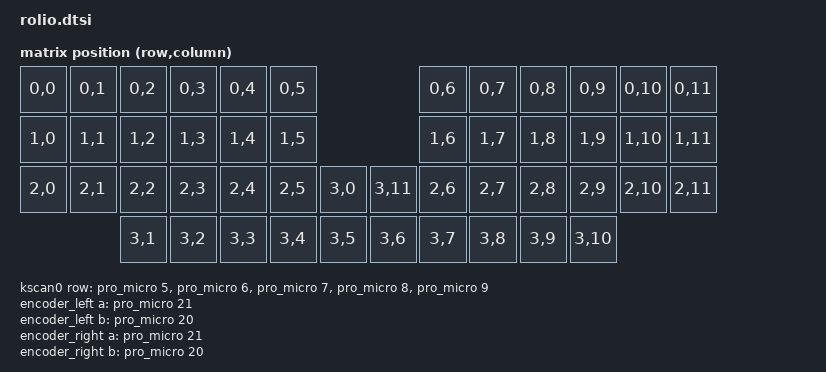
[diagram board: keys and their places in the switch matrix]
/*
 * Copyright (c) 2020 Pete Johanson, Ryan Cross
 *
 * SPDX-License-Identifier: MIT
 */

#include <dt-bindings/zmk/matrix_transform.h>

/ {
    chosen {
        zmk,kscan = &kscan0;
        zmk,matrix_transform = &default_transform;
        zmk,backlight = &backlight;
    };

    default_transform: keymap_transform_0 {
        compatible = "zmk,matrix-transform";
        columns = <16>;
        rows = <4>;
// | SW_A0 | SW_B0 | SW_C0 | SW_D0 | SW_E0 | SW_F0 |                   | SW_F0 | SW_E0 | SW_D0 | SW_C0 | SW_B0 | SW_A0 |
// | SW_A1 | SW_B1 | SW_C1 | SW_D1 | SW_E1 | SW_F1 |                   | SW_F1 | SW_E1 | SW_D1 | SW_C1 | SW_B1 | SW_A1 |
// | SW_A2 | SW_B2 | SW_C2 | SW_D2 | SW_E2 | SW_F2 | RE_1  |   | RE_1  | SW_F2 | SW_E2 | SW_D2 | SW_C2 | SW_B2 | SW_A2 |
//                 | SW_B4 | SW_B3 | SW_C3 | SW_D3 | SW_E3 |   | SW_E3 | SW_D3 | SW_C3 | SW_B3 | SW_B4 |
        map = <
RC(0,0) RC(0,1) RC(0,2) RC(0,3) RC(0,4) RC(0,5)                    RC(0,6) RC(0,7) RC(0,8) RC(0,9) RC(0,10) RC(0,11)
RC(1,0) RC(1,1) RC(1,2) RC(1,3) RC(1,4) RC(1,5)                    RC(1,6) RC(1,7) RC(1,8) RC(1,9) RC(1,10) RC(1,11)
RC(2,0) RC(2,1) RC(2,2) RC(2,3) RC(2,4) RC(2,5) RC(3,0)   RC(3,11) RC(2,6) RC(2,7) RC(2,8) RC(2,9) RC(2,10) RC(2,11)
                RC(3,1) RC(3,2) RC(3,3) RC(3,4) RC(3,5)   RC(3,6)  RC(3,7) RC(3,8) RC(3,9) RC(3,10)
        >;
    };

    kscan0: kscan {
        compatible = "zmk,kscan-gpio-matrix";
        label = "KSCAN";

        diode-direction = "col2row";
        row-gpios
            = <&pro_micro 5 (GPIO_ACTIVE_HIGH | GPIO_PULL_DOWN)>
            , <&pro_micro 6 (GPIO_ACTIVE_HIGH | GPIO_PULL_DOWN)>
            , <&pro_micro 7 (GPIO_ACTIVE_HIGH | GPIO_PULL_DOWN)>
            , <&pro_micro 8 (GPIO_ACTIVE_HIGH | GPIO_PULL_DOWN)>
            , <&pro_micro 9 (GPIO_ACTIVE_HIGH | GPIO_PULL_DOWN)>
            ;
    };

    encoder_left: encoder_left {
        compatible = "alps,ec11";
        label = "LEFT_ENCODER";
        a-gpios = <&pro_micro 21 (GPIO_ACTIVE_HIGH | GPIO_PULL_UP)>;
        b-gpios = <&pro_micro 20 (GPIO_ACTIVE_HIGH | GPIO_PULL_UP)>;
        steps = <60>;
        status = "disabled";
    };

    encoder_right: encoder_right {
        compatible = "alps,ec11";
        label = "RIGHT_ENCODER";
        a-gpios = <&pro_micro 21 (GPIO_ACTIVE_HIGH | GPIO_PULL_UP)>;
        b-gpios = <&pro_micro 20 (GPIO_ACTIVE_HIGH | GPIO_PULL_UP)>;
        steps = <60>;
        status = "disabled";
    };

    sensors {
        compatible = "zmk,keymap-sensors";
        sensors = <&encoder_left &encoder_right>;
        triggers-per-rotation = <15>;
    };

    backlight: pwmleds {
        compatible = "pwm-leds";
        pwm_led_0 {
            pwms = <&pwm0 0 10000 PWM_POLARITY_NORMAL>;
        };
    };

};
